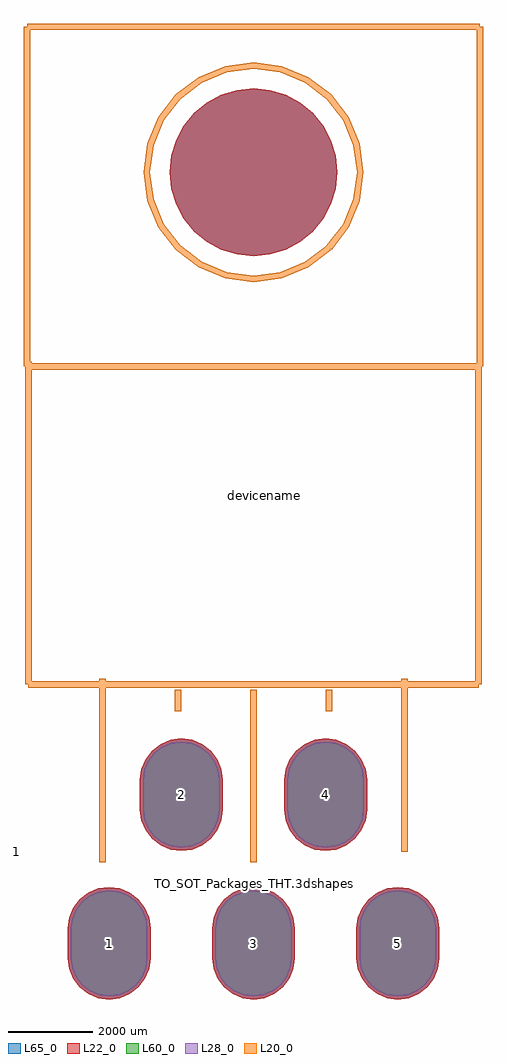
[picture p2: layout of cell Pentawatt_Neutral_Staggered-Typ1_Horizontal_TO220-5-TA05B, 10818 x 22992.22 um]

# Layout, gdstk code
import gdstk
lib = gdstk.Library(unit=1e-6, precision=1e-09)
def P(c, l, *ps):  # polygons
    for p in ps: c.add(gdstk.Polygon(p, *l))
L20_0 = (20, 0)
L22_0 = (22, 0)
L28_0 = (28, 0)
L60_0 = (60, 0)
L65_0 = (65, 0)

pentawatt_neutral_stagge = lib.new_cell('Pentawatt_Neutral_Staggered-Typ1_Horizontal_TO220-5-TA05B')
P(pentawatt_neutral_stagge, L22_0, [(1699.26,775.9),(1951.72,809.137),(2186.975,906.583),(2388.993,1061.597),(2544.007,1263.615),(2641.453,1498.87),(2674.69,1751.33),(2674.69,2449.83),(2641.453,2702.29),(2544.007,2937.545),(2388.993,3139.563),(2186.975,3294.577),(1951.72,3392.023),(1699.26,3425.26),(1446.8,3392.023),(1211.545,3294.577),(1009.527,3139.563),(854.513,2937.545),(757.067,2702.29),(723.83,2449.83),(723.83,1751.33),(757.067,1498.87),(854.513,1263.615),(1009.527,1061.597),(1211.545,906.583),(1446.8,809.137)],
  [(-1699.26,775.9),(-1446.8,809.137),(-1211.545,906.583),(-1009.527,1061.597),(-854.513,1263.615),(-757.067,1498.87),(-723.83,1751.33),(-723.83,2449.83),(-757.067,2702.29),(-854.513,2937.545),(-1009.527,3139.563),(-1211.545,3294.577),(-1446.8,3392.023),(-1699.26,3425.26),(-1951.72,3392.023),(-2186.975,3294.577),(-2388.993,3139.563),(-2544.007,2937.545),(-2641.453,2702.29),(-2674.69,2449.83),(-2674.69,1751.33),(-2641.453,1498.87),(-2544.007,1263.615),(-2388.993,1061.597),(-2186.975,906.583),(-1951.72,809.137)],
  [(1974.92,16764),(1936.972,17149.288),(1824.588,17519.769),(1642.086,17861.207),(1396.479,18160.479),(1097.207,18406.086),(755.769,18588.588),(385.288,18700.972),(0,18738.92),(-385.288,18700.972),(-755.769,18588.588),(-1097.207,18406.086),(-1396.479,18160.479),(-1642.086,17861.207),(-1824.588,17519.769),(-1936.972,17149.288),(-1974.92,16764),(-1936.972,16378.712),(-1824.588,16008.231),(-1642.086,15666.793),(-1396.479,15367.521),(-1097.207,15121.914),(-755.769,14939.412),(-385.288,14827.028),(0,14789.08),(385.288,14827.028),(755.769,14939.412),(1097.207,15121.914),(1396.479,15367.521),(1642.086,15666.793),(1824.588,16008.231),(1936.972,16378.712)],
  [(3401.06,-2724.22),(3653.52,-2690.983),(3888.775,-2593.537),(4090.793,-2438.523),(4245.807,-2236.505),(4343.253,-2001.25),(4376.49,-1748.79),(4376.49,-1050.29),(4343.253,-797.83),(4245.807,-562.575),(4090.793,-360.557),(3888.775,-205.543),(3653.52,-108.097),(3401.06,-74.86),(3148.6,-108.097),(2913.345,-205.543),(2711.327,-360.557),(2556.313,-562.575),(2458.867,-797.83),(2425.63,-1050.29),(2425.63,-1748.79),(2458.867,-2001.25),(2556.313,-2236.505),(2711.327,-2438.523),(2913.345,-2593.537),(3148.6,-2690.983)],
  [(-3401.06,-2724.22),(-3148.6,-2690.983),(-2913.345,-2593.537),(-2711.327,-2438.523),(-2556.313,-2236.505),(-2458.867,-2001.25),(-2425.63,-1748.79),(-2425.63,-1050.29),(-2458.867,-797.83),(-2556.313,-562.575),(-2711.327,-360.557),(-2913.345,-205.543),(-3148.6,-108.097),(-3401.06,-74.86),(-3653.52,-108.097),(-3888.775,-205.543),(-4090.793,-360.557),(-4245.807,-562.575),(-4343.253,-797.83),(-4376.49,-1050.29),(-4376.49,-1748.79),(-4343.253,-2001.25),(-4245.807,-2236.505),(-4090.793,-2438.523),(-3888.775,-2593.537),(-3653.52,-2690.983)],
  [(0,-2724.22),(252.46,-2690.983),(487.715,-2593.537),(689.733,-2438.523),(844.747,-2236.505),(942.193,-2001.25),(975.43,-1748.79),(975.43,-1050.29),(942.193,-797.83),(844.747,-562.575),(689.733,-360.557),(487.715,-205.543),(252.46,-108.097),(0,-74.86),(-252.46,-108.097),(-487.715,-205.543),(-689.733,-360.557),(-844.747,-562.575),(-942.193,-797.83),(-975.43,-1050.29),(-975.43,-1748.79),(-942.193,-2001.25),(-844.747,-2236.505),(-689.733,-2438.523),(-487.715,-2593.537),(-252.46,-2690.983)])
P(pentawatt_neutral_stagge, L28_0, [(1699.26,850.9),(1932.308,881.581),(2149.475,971.535),(2335.96,1114.63),(2479.055,1301.115),(2569.009,1518.282),(2599.69,1751.33),(2599.69,2449.83),(2569.009,2682.878),(2479.055,2900.045),(2335.96,3086.53),(2149.475,3229.625),(1932.308,3319.579),(1699.26,3350.26),(1466.212,3319.579),(1249.045,3229.625),(1062.56,3086.53),(919.465,2900.045),(829.511,2682.878),(798.83,2449.83),(798.83,1751.33),(829.511,1518.282),(919.465,1301.115),(1062.56,1114.63),(1249.045,971.535),(1466.212,881.581)],
  [(-1699.26,850.9),(-1466.212,881.581),(-1249.045,971.535),(-1062.56,1114.63),(-919.465,1301.115),(-829.511,1518.282),(-798.83,1751.33),(-798.83,2449.83),(-829.511,2682.878),(-919.465,2900.045),(-1062.56,3086.53),(-1249.045,3229.625),(-1466.212,3319.579),(-1699.26,3350.26),(-1932.308,3319.579),(-2149.475,3229.625),(-2335.96,3086.53),(-2479.055,2900.045),(-2569.009,2682.878),(-2599.69,2449.83),(-2599.69,1751.33),(-2569.009,1518.282),(-2479.055,1301.115),(-2335.96,1114.63),(-2149.475,971.535),(-1932.308,881.581)],
  [(3401.06,-2649.22),(3634.108,-2618.539),(3851.275,-2528.585),(4037.76,-2385.49),(4180.855,-2199.005),(4270.809,-1981.838),(4301.49,-1748.79),(4301.49,-1050.29),(4270.809,-817.242),(4180.855,-600.075),(4037.76,-413.59),(3851.275,-270.495),(3634.108,-180.541),(3401.06,-149.86),(3168.012,-180.541),(2950.845,-270.495),(2764.36,-413.59),(2621.265,-600.075),(2531.311,-817.242),(2500.63,-1050.29),(2500.63,-1748.79),(2531.311,-1981.838),(2621.265,-2199.005),(2764.36,-2385.49),(2950.845,-2528.585),(3168.012,-2618.539)],
  [(-3401.06,-2649.22),(-3168.012,-2618.539),(-2950.845,-2528.585),(-2764.36,-2385.49),(-2621.265,-2199.005),(-2531.311,-1981.838),(-2500.63,-1748.79),(-2500.63,-1050.29),(-2531.311,-817.242),(-2621.265,-600.075),(-2764.36,-413.59),(-2950.845,-270.495),(-3168.012,-180.541),(-3401.06,-149.86),(-3634.108,-180.541),(-3851.275,-270.495),(-4037.76,-413.59),(-4180.855,-600.075),(-4270.809,-817.242),(-4301.49,-1050.29),(-4301.49,-1748.79),(-4270.809,-1981.838),(-4180.855,-2199.005),(-4037.76,-2385.49),(-3851.275,-2528.585),(-3634.108,-2618.539)],
  [(0,-2649.22),(233.048,-2618.539),(450.215,-2528.585),(636.7,-2385.49),(779.795,-2199.005),(869.749,-1981.838),(900.43,-1748.79),(900.43,-1050.29),(869.749,-817.242),(779.795,-600.075),(636.7,-413.59),(450.215,-270.495),(233.048,-180.541),(0,-149.86),(-233.048,-180.541),(-450.215,-270.495),(-636.7,-413.59),(-779.795,-600.075),(-869.749,-817.242),(-900.43,-1050.29),(-900.43,-1748.79),(-869.749,-1981.838),(-779.795,-2199.005),(-636.7,-2385.49),(-450.215,-2528.585),(-233.048,-2618.539)])
P(pentawatt_neutral_stagge, L60_0, [(1699.26,850.9),(1932.308,881.581),(2149.475,971.535),(2335.96,1114.63),(2479.055,1301.115),(2569.009,1518.282),(2599.69,1751.33),(2599.69,2449.83),(2569.009,2682.878),(2479.055,2900.045),(2335.96,3086.53),(2149.475,3229.625),(1932.308,3319.579),(1699.26,3350.26),(1466.212,3319.579),(1249.045,3229.625),(1062.56,3086.53),(919.465,2900.045),(829.511,2682.878),(798.83,2449.83),(798.83,1751.33),(829.511,1518.282),(919.465,1301.115),(1062.56,1114.63),(1249.045,971.535),(1466.212,881.581)],
  [(-1699.26,850.9),(-1466.212,881.581),(-1249.045,971.535),(-1062.56,1114.63),(-919.465,1301.115),(-829.511,1518.282),(-798.83,1751.33),(-798.83,2449.83),(-829.511,2682.878),(-919.465,2900.045),(-1062.56,3086.53),(-1249.045,3229.625),(-1466.212,3319.579),(-1699.26,3350.26),(-1932.308,3319.579),(-2149.475,3229.625),(-2335.96,3086.53),(-2479.055,2900.045),(-2569.009,2682.878),(-2599.69,2449.83),(-2599.69,1751.33),(-2569.009,1518.282),(-2479.055,1301.115),(-2335.96,1114.63),(-2149.475,971.535),(-1932.308,881.581)],
  [(3401.06,-2649.22),(3634.108,-2618.539),(3851.275,-2528.585),(4037.76,-2385.49),(4180.855,-2199.005),(4270.809,-1981.838),(4301.49,-1748.79),(4301.49,-1050.29),(4270.809,-817.242),(4180.855,-600.075),(4037.76,-413.59),(3851.275,-270.495),(3634.108,-180.541),(3401.06,-149.86),(3168.012,-180.541),(2950.845,-270.495),(2764.36,-413.59),(2621.265,-600.075),(2531.311,-817.242),(2500.63,-1050.29),(2500.63,-1748.79),(2531.311,-1981.838),(2621.265,-2199.005),(2764.36,-2385.49),(2950.845,-2528.585),(3168.012,-2618.539)],
  [(-3401.06,-2649.22),(-3168.012,-2618.539),(-2950.845,-2528.585),(-2764.36,-2385.49),(-2621.265,-2199.005),(-2531.311,-1981.838),(-2500.63,-1748.79),(-2500.63,-1050.29),(-2531.311,-817.242),(-2621.265,-600.075),(-2764.36,-413.59),(-2950.845,-270.495),(-3168.012,-180.541),(-3401.06,-149.86),(-3634.108,-180.541),(-3851.275,-270.495),(-4037.76,-413.59),(-4180.855,-600.075),(-4270.809,-817.242),(-4301.49,-1050.29),(-4301.49,-1748.79),(-4270.809,-1981.838),(-4180.855,-2199.005),(-4037.76,-2385.49),(-3851.275,-2528.585),(-3634.108,-2618.539)],
  [(0,-2649.22),(233.048,-2618.539),(450.215,-2528.585),(636.7,-2385.49),(779.795,-2199.005),(869.749,-1981.838),(900.43,-1748.79),(900.43,-1050.29),(869.749,-817.242),(779.795,-600.075),(636.7,-413.59),(450.215,-270.495),(233.048,-180.541),(0,-149.86),(-233.048,-180.541),(-450.215,-270.495),(-636.7,-413.59),(-779.795,-600.075),(-869.749,-817.242),(-900.43,-1050.29),(-900.43,-1748.79),(-869.749,-1981.838),(-779.795,-2199.005),(-636.7,-2385.49),(-450.215,-2528.585),(-233.048,-2618.539)])
P(pentawatt_neutral_stagge, L65_0, [(1699.26,775.9),(1951.72,809.137),(2186.975,906.583),(2388.993,1061.597),(2544.007,1263.615),(2641.453,1498.87),(2674.69,1751.33),(2674.69,2449.83),(2641.453,2702.29),(2544.007,2937.545),(2388.993,3139.563),(2186.975,3294.577),(1951.72,3392.023),(1699.26,3425.26),(1446.8,3392.023),(1211.545,3294.577),(1009.527,3139.563),(854.513,2937.545),(757.067,2702.29),(723.83,2449.83),(723.83,1751.33),(757.067,1498.87),(854.513,1263.615),(1009.527,1061.597),(1211.545,906.583),(1446.8,809.137)],
  [(-1699.26,775.9),(-1446.8,809.137),(-1211.545,906.583),(-1009.527,1061.597),(-854.513,1263.615),(-757.067,1498.87),(-723.83,1751.33),(-723.83,2449.83),(-757.067,2702.29),(-854.513,2937.545),(-1009.527,3139.563),(-1211.545,3294.577),(-1446.8,3392.023),(-1699.26,3425.26),(-1951.72,3392.023),(-2186.975,3294.577),(-2388.993,3139.563),(-2544.007,2937.545),(-2641.453,2702.29),(-2674.69,2449.83),(-2674.69,1751.33),(-2641.453,1498.87),(-2544.007,1263.615),(-2388.993,1061.597),(-2186.975,906.583),(-1951.72,809.137)],
  [(1974.92,16764),(1936.972,17149.288),(1824.588,17519.769),(1642.086,17861.207),(1396.479,18160.479),(1097.207,18406.086),(755.769,18588.588),(385.288,18700.972),(0,18738.92),(-385.288,18700.972),(-755.769,18588.588),(-1097.207,18406.086),(-1396.479,18160.479),(-1642.086,17861.207),(-1824.588,17519.769),(-1936.972,17149.288),(-1974.92,16764),(-1936.972,16378.712),(-1824.588,16008.231),(-1642.086,15666.793),(-1396.479,15367.521),(-1097.207,15121.914),(-755.769,14939.412),(-385.288,14827.028),(0,14789.08),(385.288,14827.028),(755.769,14939.412),(1097.207,15121.914),(1396.479,15367.521),(1642.086,15666.793),(1824.588,16008.231),(1936.972,16378.712)],
  [(3401.06,-2724.22),(3653.52,-2690.983),(3888.775,-2593.537),(4090.793,-2438.523),(4245.807,-2236.505),(4343.253,-2001.25),(4376.49,-1748.79),(4376.49,-1050.29),(4343.253,-797.83),(4245.807,-562.575),(4090.793,-360.557),(3888.775,-205.543),(3653.52,-108.097),(3401.06,-74.86),(3148.6,-108.097),(2913.345,-205.543),(2711.327,-360.557),(2556.313,-562.575),(2458.867,-797.83),(2425.63,-1050.29),(2425.63,-1748.79),(2458.867,-2001.25),(2556.313,-2236.505),(2711.327,-2438.523),(2913.345,-2593.537),(3148.6,-2690.983)],
  [(-3401.06,-2724.22),(-3148.6,-2690.983),(-2913.345,-2593.537),(-2711.327,-2438.523),(-2556.313,-2236.505),(-2458.867,-2001.25),(-2425.63,-1748.79),(-2425.63,-1050.29),(-2458.867,-797.83),(-2556.313,-562.575),(-2711.327,-360.557),(-2913.345,-205.543),(-3148.6,-108.097),(-3401.06,-74.86),(-3653.52,-108.097),(-3888.775,-205.543),(-4090.793,-360.557),(-4245.807,-562.575),(-4343.253,-797.83),(-4376.49,-1050.29),(-4376.49,-1748.79),(-4343.253,-2001.25),(-4245.807,-2236.505),(-4090.793,-2438.523),(-3888.775,-2593.537),(-3653.52,-2690.983)],
  [(0,-2724.22),(252.46,-2690.983),(487.715,-2593.537),(689.733,-2438.523),(844.747,-2236.505),(942.193,-2001.25),(975.43,-1748.79),(975.43,-1050.29),(942.193,-797.83),(844.747,-562.575),(689.733,-360.557),(487.715,-205.543),(252.46,-108.097),(0,-74.86),(-252.46,-108.097),(-487.715,-205.543),(-689.733,-360.557),(-844.747,-562.575),(-942.193,-797.83),(-975.43,-1050.29),(-975.43,-1748.79),(-942.193,-2001.25),(-844.747,-2236.505),(-689.733,-2438.523),(-487.715,-2593.537),(-252.46,-2690.983)])
pentawatt_neutral_stagge.add(gdstk.FlexPath([(5334,12192),(-5334,12192)], 149.998, ends="flush", simple_path=True, layer=20, datatype=0))  # L20_0
pentawatt_neutral_stagge.add(gdstk.FlexPath([(-5334,20193),(-5334,12192)], 149.998, ends="flush", simple_path=True, layer=20, datatype=0))  # L20_0
pentawatt_neutral_stagge.add(gdstk.FlexPath([(5334,20193),(-5334,20193)], 149.998, ends="flush", simple_path=True, layer=20, datatype=0))  # L20_0
pentawatt_neutral_stagge.add(gdstk.FlexPath([(5334,12192),(5334,20193)], 149.998, ends="flush", simple_path=True, layer=20, datatype=0))  # L20_0
pentawatt_neutral_stagge.add(gdstk.FlexPath([(1778,14986),(2177.596,15506.764),(2428.793,16113.207),(2514.472,16764),(2428.793,17414.793),(2177.596,18021.236),(1778,18542),(1257.236,18941.596),(650.793,19192.793),(0,19278.472),(-650.793,19192.793),(-1257.236,18941.596),(-1778,18542),(-2177.596,18021.236),(-2428.793,17414.793),(-2514.472,16764),(-2428.793,16113.207),(-2177.596,15506.764),(-1778,14986),(-1257.236,14586.404),(-650.793,14335.207),(0,14249.528),(650.793,14335.207),(1257.236,14586.404),(1778,14986)], 149.998, ends="flush", simple_path=True, layer=20, datatype=0))  # L20_0
pentawatt_neutral_stagge.add(gdstk.FlexPath([(-5300.98,4699),(5300.98,4699)], 149.998, ends="flush", simple_path=True, layer=20, datatype=0))  # L20_0
pentawatt_neutral_stagge.add(gdstk.FlexPath([(5300.98,12199.62),(5300.98,4699)], 149.998, ends="flush", simple_path=True, layer=20, datatype=0))  # L20_0
pentawatt_neutral_stagge.add(gdstk.FlexPath([(-5300.98,4699),(-5300.98,12301.22)], 149.998, ends="flush", simple_path=True, layer=20, datatype=0))  # L20_0
pentawatt_neutral_stagge.add(gdstk.FlexPath([(-1778,4572),(-1778,4064)], 149.998, ends="flush", simple_path=True, layer=20, datatype=0))  # L20_0
pentawatt_neutral_stagge.add(gdstk.FlexPath([(1778,4572),(1778,4064)], 149.998, ends="flush", simple_path=True, layer=20, datatype=0))  # L20_0
pentawatt_neutral_stagge.add(gdstk.FlexPath([(3556,4826),(3556,762)], 149.998, ends="flush", simple_path=True, layer=20, datatype=0))  # L20_0
pentawatt_neutral_stagge.add(gdstk.FlexPath([(-3556,4826),(-3556,508)], 149.998, ends="flush", simple_path=True, layer=20, datatype=0))  # L20_0
pentawatt_neutral_stagge.add(gdstk.FlexPath([(0,4572),(0,508)], 149.998, ends="flush", simple_path=True, layer=20, datatype=0))  # L20_0
pentawatt_neutral_stagge.add(gdstk.Label('TO_SOT_Packages_THT.3dshapes/Pentawatt_Neutral_Staggered-Typ1_Horizontal_TO220-5-TA05B.wrl', (0,0), layer=12, texttype=0))
pentawatt_neutral_stagge.add(gdstk.Label('4', (1699.26,2100.58), layer=28, texttype=0))
pentawatt_neutral_stagge.add(gdstk.Label('2', (-1699.26,2100.58), layer=28, texttype=0))
pentawatt_neutral_stagge.add(gdstk.Label('5', (3401.06,-1399.54), layer=28, texttype=0))
pentawatt_neutral_stagge.add(gdstk.Label('1', (-3401.06,-1399.54), layer=28, texttype=0))
pentawatt_neutral_stagge.add(gdstk.Label('3', (0,-1399.54), layer=28, texttype=0))
pentawatt_neutral_stagge.add(gdstk.Label('1', (-5588,762), layer=9, texttype=0))
pentawatt_neutral_stagge.add(gdstk.Label('type', (2540,-5080), layer=9, texttype=0))
pentawatt_neutral_stagge.add(gdstk.Label('devicename', (254,9144), layer=9, texttype=0))

lib.write_gds('Pentawatt_Neutral_Staggered-Typ1_Horizontal_TO220-5-TA05B.gds')
